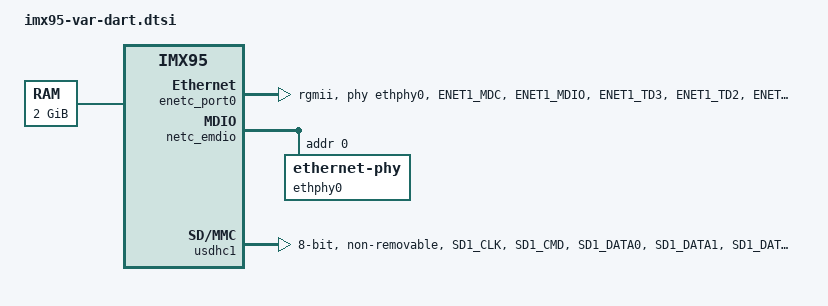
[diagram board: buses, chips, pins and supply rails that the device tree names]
// SPDX-License-Identifier: (GPL-2.0+ OR MIT)
/*
 * Copyright 2023 NXP
 * Copyright 2024 Variscite Ltd.
 */

/dts-v1/;

#include <dt-bindings/phy/phy-imx8-pcie.h>
#include <dt-bindings/usb/pd.h>
#include "imx95.dtsi"

/ {
	compatible = "variscite,imx95-var-dart", "fsl,imx95";

	memory@80000000 {
		device_type = "memory";
		reg = <0x0 0x80000000 0 0x80000000>;
	};
};

&enetc_port0 {
	pinctrl-names = "default";
	pinctrl-0 = <&pinctrl_enetc0>;
	phy-handle = <&ethphy0>;
	phy-mode = "rgmii";
	status = "okay";
};

&netc_emdio {
	status = "okay";

	ethphy0: ethernet-phy@0 {
		reg = <0>;
		eee-broken-1000t;
	};
};

&scmi_iomuxc {
	pinctrl_enetc0: enetc0grp {
		fsl,pins = <
			IMX95_PAD_ENET1_MDC__NETCMIX_TOP_NETC_MDC		0x57e
			IMX95_PAD_ENET1_MDIO__NETCMIX_TOP_NETC_MDIO		0x57e
			IMX95_PAD_ENET1_TD3__NETCMIX_TOP_ETH0_RGMII_TD3		0x57e
			IMX95_PAD_ENET1_TD2__NETCMIX_TOP_ETH0_RGMII_TD2		0x57e
			IMX95_PAD_ENET1_TD1__NETCMIX_TOP_ETH0_RGMII_TD1		0x57e
			IMX95_PAD_ENET1_TD0__NETCMIX_TOP_ETH0_RGMII_TD0		0x57e
			IMX95_PAD_ENET1_TX_CTL__NETCMIX_TOP_ETH0_RGMII_TX_CTL	0x57e
			IMX95_PAD_ENET1_TXC__NETCMIX_TOP_ETH0_RGMII_TX_CLK	0x5fe
			IMX95_PAD_ENET1_RX_CTL__NETCMIX_TOP_ETH0_RGMII_RX_CTL	0x57e
			IMX95_PAD_ENET1_RXC__NETCMIX_TOP_ETH0_RGMII_RX_CLK	0x5fe
			IMX95_PAD_ENET1_RD0__NETCMIX_TOP_ETH0_RGMII_RD0		0x57e
			IMX95_PAD_ENET1_RD1__NETCMIX_TOP_ETH0_RGMII_RD1		0x57e
			IMX95_PAD_ENET1_RD2__NETCMIX_TOP_ETH0_RGMII_RD2		0x57e
			IMX95_PAD_ENET1_RD3__NETCMIX_TOP_ETH0_RGMII_RD3		0x57e
			IMX95_PAD_GPIO_IO36__GPIO5_IO_BIT16			0x31e
		>;
	};

	pinctrl_usdhc1: usdhc1grp {
		fsl,pins = <
			IMX95_PAD_SD1_CLK__USDHC1_CLK				0x158e
			IMX95_PAD_SD1_CMD__USDHC1_CMD				0x138e
			IMX95_PAD_SD1_DATA0__USDHC1_DATA0			0x138e
			IMX95_PAD_SD1_DATA1__USDHC1_DATA1			0x138e
			IMX95_PAD_SD1_DATA2__USDHC1_DATA2			0x138e
			IMX95_PAD_SD1_DATA3__USDHC1_DATA3			0x138e
			IMX95_PAD_SD1_DATA4__USDHC1_DATA4			0x138e
			IMX95_PAD_SD1_DATA5__USDHC1_DATA5			0x138e
			IMX95_PAD_SD1_DATA6__USDHC1_DATA6			0x138e
			IMX95_PAD_SD1_DATA7__USDHC1_DATA7			0x138e
			IMX95_PAD_SD1_STROBE__USDHC1_STROBE			0x158e
		>;
	};

	pinctrl_usdhc1_100mhz: usdhc1-100mhzgrp {
		fsl,pins = <
			IMX95_PAD_SD1_CLK__USDHC1_CLK				0x158e
			IMX95_PAD_SD1_CMD__USDHC1_CMD				0x138e
			IMX95_PAD_SD1_DATA0__USDHC1_DATA0			0x138e
			IMX95_PAD_SD1_DATA1__USDHC1_DATA1			0x138e
			IMX95_PAD_SD1_DATA2__USDHC1_DATA2			0x138e
			IMX95_PAD_SD1_DATA3__USDHC1_DATA3			0x138e
			IMX95_PAD_SD1_DATA4__USDHC1_DATA4			0x138e
			IMX95_PAD_SD1_DATA5__USDHC1_DATA5			0x138e
			IMX95_PAD_SD1_DATA6__USDHC1_DATA6			0x138e
			IMX95_PAD_SD1_DATA7__USDHC1_DATA7			0x138e
			IMX95_PAD_SD1_STROBE__USDHC1_STROBE			0x158e
		>;
	};

	pinctrl_usdhc1_200mhz: usdhc1-200mhzgrp {
		fsl,pins = <
			IMX95_PAD_SD1_CLK__USDHC1_CLK				0x15fe
			IMX95_PAD_SD1_CMD__USDHC1_CMD				0x13fe
			IMX95_PAD_SD1_DATA0__USDHC1_DATA0			0x13fe
			IMX95_PAD_SD1_DATA1__USDHC1_DATA1			0x13fe
			IMX95_PAD_SD1_DATA2__USDHC1_DATA2			0x13fe
			IMX95_PAD_SD1_DATA3__USDHC1_DATA3			0x13fe
			IMX95_PAD_SD1_DATA4__USDHC1_DATA4			0x13fe
			IMX95_PAD_SD1_DATA5__USDHC1_DATA5			0x13fe
			IMX95_PAD_SD1_DATA6__USDHC1_DATA6			0x13fe
			IMX95_PAD_SD1_DATA7__USDHC1_DATA7			0x13fe
			IMX95_PAD_SD1_STROBE__USDHC1_STROBE			0x15fe
		>;
	};
};

&usdhc1 {
	pinctrl-names = "default", "state_100mhz", "state_200mhz";
	pinctrl-0 = <&pinctrl_usdhc1>;
	pinctrl-1 = <&pinctrl_usdhc1_100mhz>;
	pinctrl-2 = <&pinctrl_usdhc1_200mhz>;
	bus-width = <8>;
	non-removable;
	no-sdio;
	no-sd;
	status = "okay";
};
